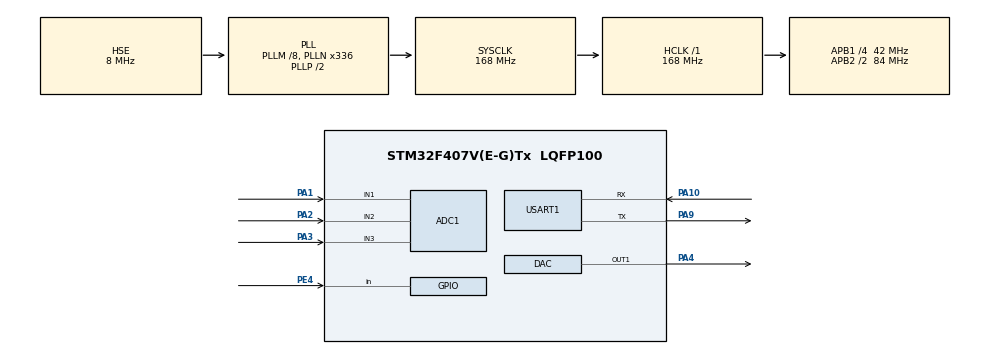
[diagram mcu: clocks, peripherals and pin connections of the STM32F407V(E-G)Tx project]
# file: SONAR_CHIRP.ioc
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ADC1.Channel-0\#ChannelRegularConversion=ADC_CHANNEL_1
ADC1.NbrOfConversionFlag=1
ADC1.Rank-0\#ChannelRegularConversion=1
ADC1.SamplingTime-0\#ChannelRegularConversion=ADC_SAMPLETIME_3CYCLES
ADC1.master=1
DAC.DAC_Trigger=DAC_TRIGGER_T6_TRGO
Dma.DAC1.0.Direction=DMA_MEMORY_TO_PERIPH
Dma.DAC1.0.FIFOMode=DMA_FIFOMODE_DISABLE
Dma.DAC1.0.Instance=DMA1_Stream5
Dma.DAC1.0.MemDataAlignment=DMA_MDATAALIGN_HALFWORD
Dma.DAC1.0.MemInc=DMA_MINC_ENABLE
Dma.DAC1.0.Mode=DMA_NORMAL
Dma.DAC1.0.PeriphDataAlignment=DMA_PDATAALIGN_HALFWORD
Dma.DAC1.0.PeriphInc=DMA_PINC_DISABLE
Dma.DAC1.0.Priority=DMA_PRIORITY_HIGH
Dma.Request0=DAC1
Mcu.Family=STM32F4
Mcu.Name=STM32F407V(E-G)Tx
Mcu.Package=LQFP100
NVIC.DMA1_Stream5_IRQn=true\:6\:0\:true\:false\:true\:false\:true\:true
NVIC.PriorityGroup=NVIC_PRIORITYGROUP_4
PA1.Signal=ADCx_IN1
PA10.Mode=Asynchronous
PA10.Signal=USART1_RX
PA2.Signal=ADCx_IN2
PA3.Signal=ADCx_IN3
PA4.Signal=COMP_DAC1_group
PA9.Mode=Asynchronous
PA9.Signal=USART1_TX
PE4.GPIO_PuPd=GPIO_PULLUP
PE4.Signal=GPIO_Input
PH0-OSC_IN.Mode=HSE-External-Oscillator
PH0-OSC_IN.Signal=RCC_OSC_IN
PH1-OSC_OUT.Mode=HSE-External-Oscillator
PH1-OSC_OUT.Signal=RCC_OSC_OUT
ProjectManager.HeapSize=0x200
ProjectManager.StackSize=0x400
ProjectManager.TargetToolchain=STM32CubeIDE
RCC.48MHZClocksFreq_Value=84000000
RCC.AHBFreq_Value=168000000
RCC.APB1CLKDivider=RCC_HCLK_DIV4
RCC.APB1Freq_Value=42000000
RCC.APB1TimFreq_Value=84000000
RCC.APB2CLKDivider=RCC_HCLK_DIV2
RCC.APB2Freq_Value=84000000
RCC.APB2TimFreq_Value=168000000
RCC.CortexFreq_Value=168000000
RCC.HCLKFreq_Value=168000000
RCC.HSE_VALUE=8000000
RCC.HSI_VALUE=16000000
RCC.LSE_VALUE=32768
RCC.PLLM=8
RCC.PLLN=336
RCC.PLLSourceVirtual=RCC_PLLSOURCE_HSE
RCC.SYSCLKFreq_VALUE=168000000
RCC.SYSCLKSource=RCC_SYSCLKSOURCE_PLLCLK
RCC.VCOOutputFreq_Value=336000000
SH.ADCx_IN1.0=ADC1_IN1,IN1
SH.ADCx_IN2.0=ADC1_IN2,IN2
SH.ADCx_IN3.0=ADC1_IN3,IN3
SH.COMP_DAC1_group.0=DAC_OUT1,DAC_OUT1
TIM6.AutoReloadPreload=TIM_AUTORELOAD_PRELOAD_ENABLE
TIM6.Period=66
TIM6.TIM_MasterOutputTrigger=TIM_TRGO_UPDATE
USART1.VirtualMode=VM_ASYNC
VP_TIM6_VS_ClockSourceINT.Mode=Enable_Timer
board=custom

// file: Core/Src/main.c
/* USER CODE BEGIN Header */
/**
  * @file           : main.c
  * @brief          : Main program body
  */
/* USER CODE END Header */

#include "main.h"
#include "adc.h"
#include "dac.h"
#include "dma.h"
#include "tim.h"
#include "usart.h"
#include "gpio.h"

/* USER CODE BEGIN Includes */
#include "chirp_gen.h"
#include "sensors.h"
#include <stdio.h>
#include <string.h>
/* USER CODE END Includes */

/* USER CODE BEGIN PTD */
/* 0 = LFM Chirp, 1 = Geometric Sweep, 2 = Phase-Coded */
volatile uint8_t modulation_mode = 0;
/* USER CODE END PTD */

/* USER CODE BEGIN PFP */
void SystemClock_Config(void);
static void debug_print_params(ChirpParams p);
/* USER CODE END PFP */

/* USER CODE BEGIN PFP */
static void debug_print_params(ChirpParams p);
/* USER CODE END PFP */

/* USER CODE BEGIN 0 */
static void debug_print_params(ChirpParams p)
{
    char buf[160];
    int f0_khz  = (int)(p.f0 / 1000.0f);
    int f1_khz  = (int)(p.f1 / 1000.0f);
    int dur_us  = (int)(p.duration * 1000000.0f);
    int amp_pct = (int)(p.amplitude * 100.0f);

    int len = snprintf(buf, sizeof(buf),
        "raw1=%4lu raw2=%4lu raw3=%4lu  |  f0=%dkHz f1=%dkHz dur=%dus amp=%d%% mode=%d\r\n",
        (unsigned long)p.raw1, (unsigned long)p.raw2, (unsigned long)p.raw3,
        f0_khz, f1_khz, dur_us, amp_pct, modulation_mode);

    HAL_UART_Transmit(&huart1, (uint8_t *)buf, len, 100);
}
/* USER CODE END 0 */

int main(void)
{

  HAL_Init();
  SystemClock_Config();

  MX_GPIO_Init();
  MX_DMA_Init();
  MX_DAC_Init();
  MX_TIM6_Init();
  MX_ADC1_Init();
  MX_USART1_UART_Init();

  /* USER CODE BEGIN 2 */
  sensors_init(&hadc1);
  chirp_debug_gpio_init();

  chirp_gen_compute(chirp_buffer, CHIRP_BUFFER_LEN, CHIRP_F0_HZ, CHIRP_F1_HZ, FS_ACTUAL_HZ);

  {
      const char *boot_msg = "\r\n--- Sonar Chirp firmware booted, UART OK ---\r\n";
      HAL_UART_Transmit(&huart1, (uint8_t *)boot_msg, strlen(boot_msg), 100);
  }
  /* USER CODE END 2 */

  while (1)
  {

    /* USER CODE BEGIN 3 */

    /* --- K1 Button on PE3: Mode Selector --- */
    if (HAL_GPIO_ReadPin(GPIOE, GPIO_PIN_3) == GPIO_PIN_RESET)
    {
        HAL_Delay(50); /* Debounce */
        if (HAL_GPIO_ReadPin(GPIOE, GPIO_PIN_3) == GPIO_PIN_RESET)
        {
            modulation_mode++;
            if (modulation_mode > 2) {
                modulation_mode = 0;
            }
            /* Wait for button release */
            while (HAL_GPIO_ReadPin(GPIOE, GPIO_PIN_3) == GPIO_PIN_RESET) {}
        }
    }

    /* --- K0 Button on PE4: Fire Waveform --- */
    if (HAL_GPIO_ReadPin(GPIOE, GPIO_PIN_4) == GPIO_PIN_RESET)
    {
        while (HAL_GPIO_ReadPin(GPIOE, GPIO_PIN_4) == GPIO_PIN_RESET) {}

        ChirpParams p = sensors_read();
        debug_print_params(p);

        /* Let the shared ADC/DAC analog rail settle */
        HAL_Delay(2);

        uint32_t len = 0;

        switch(modulation_mode) {
            case 0:
                len = chirp_gen_compute_var(p.f0, p.f1, p.duration, p.amplitude);
                break;
            case 1:
                len = geometric_sweep_compute(p.f0, p.f1, p.duration, p.amplitude);
                break;
            case 2:
                len = phase_coded_compute(p.f0, p.duration, p.amplitude);
                break;
        }

        HAL_StatusTypeDef ret = chirp_fire_var(&hdac, &htim6, len);

        if (ret != HAL_OK && ret != HAL_BUSY)
        {
            Error_Handler();
        }
    }
  }
  /* USER CODE END 3 */
}

void SystemClock_Config(void)
{
  RCC_OscInitTypeDef RCC_OscInitStruct = {0};
  RCC_ClkInitTypeDef RCC_ClkInitStruct = {0};

  __HAL_RCC_PWR_CLK_ENABLE();
  __HAL_PWR_VOLTAGESCALING_CONFIG(PWR_REGULATOR_VOLTAGE_SCALE1);

  RCC_OscInitStruct.OscillatorType = RCC_OSCILLATORTYPE_HSE;
  RCC_OscInitStruct.HSEState = RCC_HSE_ON;
  RCC_OscInitStruct.PLL.PLLState = RCC_PLL_ON;
  RCC_OscInitStruct.PLL.PLLSource = RCC_PLLSOURCE_HSE;
  RCC_OscInitStruct.PLL.PLLM = 8;
  RCC_OscInitStruct.PLL.PLLN = 336;
  RCC_OscInitStruct.PLL.PLLP = RCC_PLLP_DIV2;
  RCC_OscInitStruct.PLL.PLLQ = 4;
  if (HAL_RCC_OscConfig(&RCC_OscInitStruct) != HAL_OK)
  {
    Error_Handler();
  }

  RCC_ClkInitStruct.ClockType = RCC_CLOCKTYPE_HCLK|RCC_CLOCKTYPE_SYSCLK
                              |RCC_CLOCKTYPE_PCLK1|RCC_CLOCKTYPE_PCLK2;
  RCC_ClkInitStruct.SYSCLKSource = RCC_SYSCLKSOURCE_PLLCLK;
  RCC_ClkInitStruct.AHBCLKDivider = RCC_SYSCLK_DIV1;
  RCC_ClkInitStruct.APB1CLKDivider = RCC_HCLK_DIV4;
  RCC_ClkInitStruct.APB2CLKDivider = RCC_HCLK_DIV2;

  if (HAL_RCC_ClockConfig(&RCC_ClkInitStruct, FLASH_LATENCY_5) != HAL_OK)
  {
    Error_Handler();
  }
}

/* USER CODE BEGIN 4 */
void HAL_DAC_ConvCpltCallbackCh1(DAC_HandleTypeDef *hdac)
{
    chirp_dma_complete_cb(hdac, &htim6);
}
/* USER CODE END 4 */

void Error_Handler(void)
{
  __disable_irq();
  while (1)
  {
  }
}
